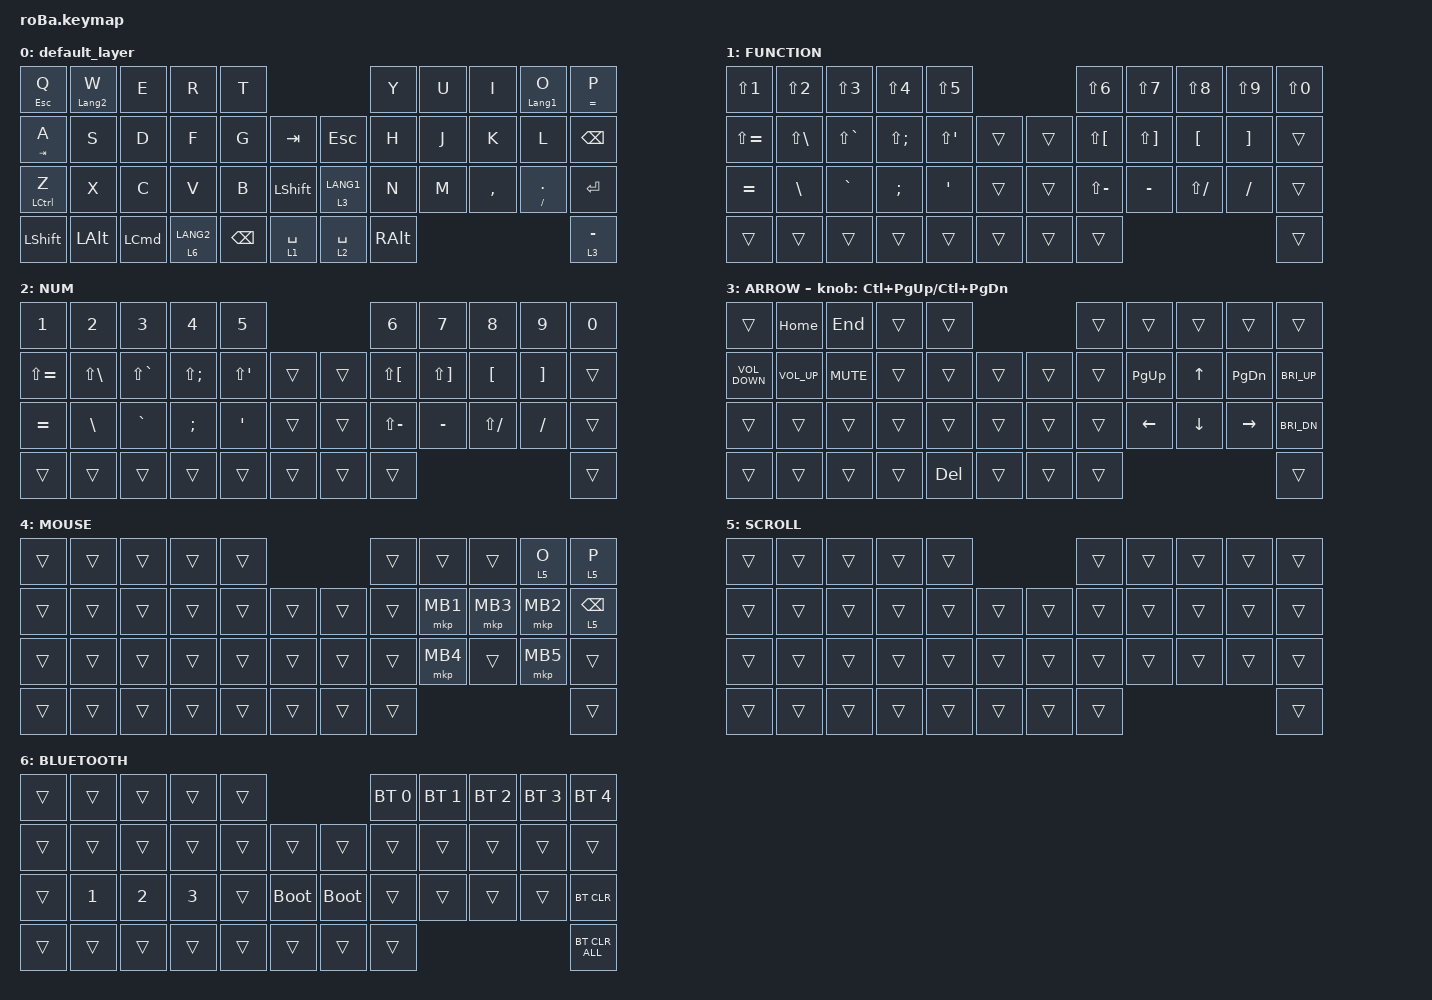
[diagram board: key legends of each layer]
#include <behaviors.dtsi>
#include <dt-bindings/zmk/bt.h>
#include <dt-bindings/zmk/keys.h>
#include <dt-bindings/zmk/pointing.h>

&mt {
    flavor = "balanced"; // hold if interrupted key is both pressed and released
    quick-tap-ms = <175>; // repeat tap within 175 ms always produces tap
    tapping-term-ms = <200>; // hold threshold when no interrupt occurs
    require-prior-idle-ms = <150>; // tap immediately if typed within 150 ms of last key
};

&trackball {
    // automouse-layer = <4>;

    scroll-layers = <5>;

    // arrows {
    //     layers = <3>;
    //     bindings =
    //         <&kp RIGHT_ARROW>,
    //         <&kp LEFT_ARROW>,
    //         <&kp UP_ARROW>,
    //         <&kp DOWN_ARROW>;
    //     tick = <10>;
    //     wait-ms = <5>;
    //     tap-ms = <5>;
    // };
};

/ {
    combos {
        compatible = "zmk,combos";

        mouse-layer {
            bindings = <&to 4>;
            key-positions = <6 7 8>;
        };

        default-layer {
            bindings = <&to 0>;
            key-positions = <18 19 20>;
        };

        lt-mouse-layer {
            bindings = <&lt 4 ESCAPE>;
            key-positions = <15 27>;
        };

        mouse-left-click {
            bindings = <&mkp LCLK>;
            key-positions = <6 7>;
        };

        mouse-right-click {
            bindings = <&mkp RCLK>;
            key-positions = <7 8>;
        };

        scroll-layer {
            bindings = <&lt 5 LG(SPACE)>;
            key-positions = <8 9>;
        };
    };

    macros {
        to_layer_0: to_layer_0 {
            compatible = "zmk,behavior-macro-one-param";
            #binding-cells = <1>;
            bindings = <&to 0 &macro_param_1to1 &kp MACRO_PLACEHOLDER>;
            label = "TO_LAYER_0";
        };
    };

    behaviors {
        lt_to_layer_0: lt_to_layer_0 {
            compatible = "zmk,behavior-hold-tap";
            label = "LAYER_TAP_TO_0";
            bindings = <&mo>, <&to_layer_0>;

            #binding-cells = <2>;
            tapping-term-ms = <200>;
        };
    };

    keymap {
        compatible = "zmk,keymap";

        default_layer {
            bindings = <
&mt ESCAPE Q        &mt LANGUAGE_2 W  &kp E             &kp R        &kp T                                           &kp Y          &kp U  &kp I      &mt LANGUAGE_1 O  &mt EQUAL P
&mt TAB A           &kp S             &kp D             &kp F        &kp G          &kp TAB             &kp ESCAPE   &kp H          &kp J  &kp K      &kp L             &kp BACKSPACE
&mt LEFT_CONTROL Z  &kp X             &kp C             &kp V        &kp B          &kp LEFT_SHIFT      &lt 3 LANG1  &kp N          &kp M  &kp COMMA  &mt SLASH DOT     &kp RET
&kp LEFT_SHIFT      &kp LEFT_ALT      &kp LEFT_COMMAND  &lt 6 LANG2  &kp BACKSPACE  &lt 1 SPACE         &lt 2 SPACE  &kp RIGHT_ALT                                      &lt 3 MINUS
            >;
        };

        FUNCTION {
            bindings = <
&kp LS(NUMBER_1)  &kp LS(NUMBER_2)   &kp LS(NUMBER_3)  &kp LS(NUMBER_4)   &kp LS(N5)                       &kp LS(NUMBER_6)      &kp LS(N7)             &kp LS(N8)        &kp LS(N9)         &kp LS(N0)
&kp LS(EQUAL)     &kp LS(BACKSLASH)  &kp LS(GRAVE)     &kp LS(SEMICOLON)  &kp LS(SQT)  &trans      &trans  &kp LS(LEFT_BRACKET)  &kp LS(RIGHT_BRACKET)  &kp LEFT_BRACKET  &kp RIGHT_BRACKET  &trans
&kp EQUAL         &kp BACKSLASH      &kp GRAVE         &kp SEMICOLON      &kp SQT      &trans      &trans  &kp LS(MINUS)         &kp MINUS              &kp LS(SLASH)     &kp SLASH          &trans
&trans            &trans             &trans            &trans             &trans       &trans      &trans  &trans                                                                            &trans
            >;
        };

        NUM {
            bindings = <
&kp NUMBER_1   &kp NUMBER_2       &kp NUMBER_3   &kp NUMBER_4       &kp N5                           &kp NUMBER_6          &kp N7                 &kp N8            &kp N9             &kp N0
&kp LS(EQUAL)  &kp LS(BACKSLASH)  &kp LS(GRAVE)  &kp LS(SEMICOLON)  &kp LS(SQT)  &trans      &trans  &kp LS(LEFT_BRACKET)  &kp LS(RIGHT_BRACKET)  &kp LEFT_BRACKET  &kp RIGHT_BRACKET  &trans
&kp EQUAL      &kp BACKSLASH      &kp GRAVE      &kp SEMICOLON      &kp SQT      &trans      &trans  &kp LS(MINUS)         &kp MINUS              &kp LS(SLASH)     &kp SLASH          &trans
&trans         &trans             &trans         &trans             &trans       &trans      &trans  &trans                                                                            &trans
            >;
        };

        ARROW {
            bindings = <
&trans             &kp HOME         &kp END     &trans  &trans                          &trans  &trans          &trans          &trans           &trans
&kp C_VOLUME_DOWN  &kp C_VOLUME_UP  &kp K_MUTE  &trans  &trans      &trans      &trans  &trans  &kp PAGE_UP     &kp UP_ARROW    &kp PAGE_DOWN    &kp C_BRI_UP
&trans             &trans           &trans      &trans  &trans      &trans      &trans  &trans  &kp LEFT_ARROW  &kp DOWN_ARROW  &kp RIGHT_ARROW  &kp C_BRI_DN
&trans             &trans           &trans      &trans  &kp DELETE  &trans      &trans  &trans                                                   &trans
            >;

            sensor-bindings = <&inc_dec_kp LC(PAGE_UP) LC(PAGE_DOWN)>;
        };

        MOUSE {
            bindings = <
&trans  &trans  &trans  &trans  &trans                      &trans  &trans    &trans    &lt 5 O   &lt 5 P
&trans  &trans  &trans  &trans  &trans  &trans      &trans  &trans  &mkp MB1  &mkp MB3  &mkp MB2  &lt 5 BACKSPACE
&trans  &trans  &trans  &trans  &trans  &trans      &trans  &trans  &mkp MB4  &trans    &mkp MB5  &trans
&trans  &trans  &trans  &trans  &trans  &trans      &trans  &trans                                &trans
            >;
        };

        SCROLL {
            bindings = <
&trans  &trans  &trans  &trans  &trans                      &trans  &trans  &trans  &trans  &trans
&trans  &trans  &trans  &trans  &trans  &trans      &trans  &trans  &trans  &trans  &trans  &trans
&trans  &trans  &trans  &trans  &trans  &trans      &trans  &trans  &trans  &trans  &trans  &trans
&trans  &trans  &trans  &trans  &trans  &trans      &trans  &trans                          &trans
            >;
        };

        BLUETOOTH {
            bindings = <
&trans  &trans        &trans        &trans        &trans                                &bt BT_SEL 0  &bt BT_SEL 1  &bt BT_SEL 2  &bt BT_SEL 3  &bt BT_SEL 4
&trans  &trans        &trans        &trans        &trans  &trans           &trans       &trans        &trans        &trans        &trans        &trans
&trans  &kp NUMBER_1  &kp NUMBER_2  &kp NUMBER_3  &trans  &bootloader      &bootloader  &trans        &trans        &trans        &trans        &bt BT_CLR
&trans  &trans        &trans        &trans        &trans  &trans           &trans       &trans                                                  &bt BT_CLR_ALL
            >;
        };
    };
};
